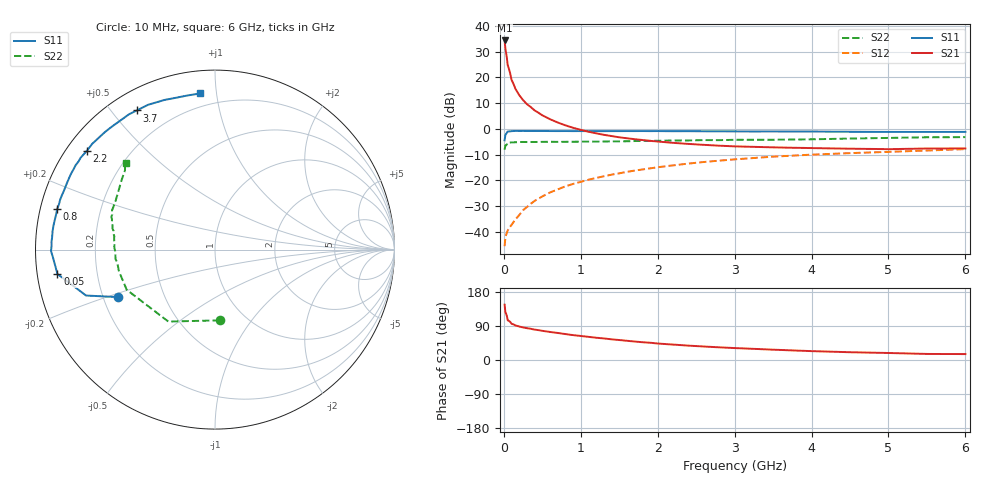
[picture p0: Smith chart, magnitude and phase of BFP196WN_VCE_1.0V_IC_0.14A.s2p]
! Infineon Technologies  Discrete & RF Semiconductors
! BFP196WN
! VCE =  1.0 V,  IC = 0.14 A
! Common Emitter S-Parameters:  Jan 2017
# GHz  S  MA  R  50
!  f  S11  S21  S12  S22
! GHz  MAG  ANG  MAG  ANG  MAG  ANG  MAG  ANG
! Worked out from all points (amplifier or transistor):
!   77 points, 10 MHz to 6 GHz, reference 50 ohm
!   highest |S21| = 34.3 dB at 10 MHz (marker M1)
!   |S21| within 3 dB of that: start of sweep to 19.59 MHz
!   unconditionally stable (mu >= 1): start of sweep to 12.01 MHz; 148.2 MHz to end of sweep
!   at 130 MHz: K = 0.96, MSG = 26.5 dB, |S12| = -36.0 dB
!   at 2.2 GHz: K = 1.11, MAG = 2.4 dB, |S12| = -14.2 dB
!   at 6 GHz: K = 1.04, MAG = -1.2 dB, |S12| = -7.8 dB
!   S11 on the Smith chart (normalised r, x): 10 MHz: 0.26, -0.22; 50 MHz: 0.06, -0.08; 800 MHz: 0.05, +0.13; 2.2 GHz: 0.06, +0.34; 3.7 GHz: 0.08, +0.58; 6 GHz: 0.12, +0.90
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0.01  0.5996 -153.8  51.97 146.1  0.0053 54.0  0.3952 -86.2
0.02  0.7629 -160.4  36.25 126.0  0.0078 43.8  0.4779 -123.0
0.05  0.8882 -171.2  17.36 104.9  0.0107 41.9  0.5403 -155.5
0.1  0.9037 -177.2  8.944 95.7  0.0137 51.7  0.5488 -167.3
0.15  0.9136 -179.5  6.01 91.3  0.0174 59.6  0.5492 -172.3
0.2  0.9107 178.5  4.518 88.4  0.0213 65.0  0.5565 -174.5
0.25  0.9118 177.2  3.617 85.9  0.0265 66.4  0.5563 -176.0
0.3  0.9102 175.8  3.025 84.0  0.0304 68.5  0.5554 -177.6
0.4  0.9107 173.5  2.281 80.2  0.04 71.1  0.5566 -179.2
0.5  0.9098 171.5  1.835 77.0  0.0488 72.3  0.56 179.3
0.6  0.9078 169.5  1.542 74.0  0.0584 72.2  0.5617 178.0
0.8  0.908 165.7  1.172 68.4  0.0767 72.5  0.5609 176.0
0.9  0.9052 163.9  1.051 65.7  0.0854 71.5  0.5633 175.2
1.1  0.9052 160.5  0.881 61.1  0.103 70.5  0.566 173.2
1.5  0.9054 153.8  0.687 52.7  0.1374 67.1  0.5733 170.0
2.1  0.9038 144.0  0.552 42.1  0.1879 61.1  0.5918 165.8
2.2  0.9015 142.4  0.536 40.7  0.1959 60.2  0.5959 165.2
3.1  0.8927 128.4  0.454 30.7  0.2624 50.3  0.614 158.2
3.7  0.8896 119.4  0.432 25.7  0.2997 43.9  0.6201 152.3
4.1  0.8863 113.6  0.422 22.8  0.3206 39.8  0.6317 147.9
5.1  0.8726 103.1  0.406 18.0  0.3624 31.4  0.6716 138.3
6  0.8738 95.5  0.417 15.6  0.4051 25.1  0.6918 135.6
